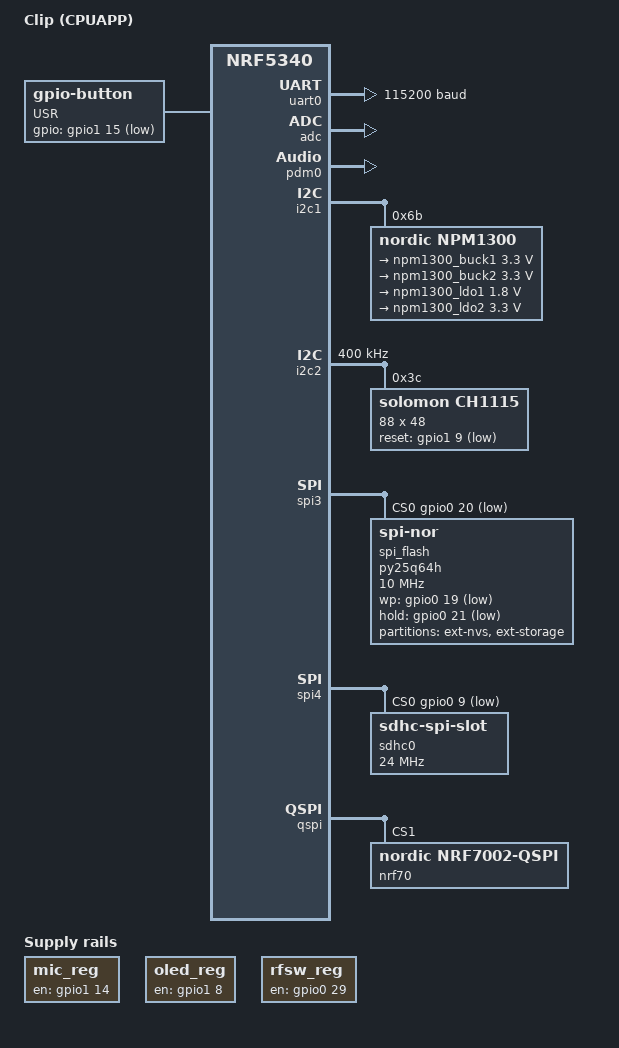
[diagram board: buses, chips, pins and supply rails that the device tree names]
/dts-v1/;
#include <nordic/nrf5340_cpuapp_qkaa.dtsi>
#include "clip-pinctrl.dtsi"
#include <zephyr/dt-bindings/sensor/lsm6dso.h>
#include <dt-bindings/regulator/npm13xx.h>

&uicr {
	nfct-pins-as-gpios;
};

/ {
	model = "Clip (CPUAPP)";
	compatible = "seeed,clip-cpuapp";

	usr_btn: button {
		compatible = "gpio-button";
		gpios = <&gpio1 15 (GPIO_PULL_UP | GPIO_ACTIVE_LOW)>;
		label = "USR";
		debounce-ms = <30>;
		long-press-ms = <1000 3000>;
		double-click-ms = <200>;
		status = "okay";
	};

	/* Microphone power regulator - from npm1300 LDO1 (1.8V) */
	mic_reg: regulator-mic {
		compatible = "regulator-fixed";
		regulator-name = "mic_vdd";
		enable-gpios = <&gpio1 14 GPIO_ACTIVE_HIGH>;
		regulator-boot-on;
		status = "okay";
	};

	oled_reg: regulator-oled {
		compatible = "regulator-fixed";
		regulator-name = "oled_vdd";
		enable-gpios = <&gpio1 8 GPIO_ACTIVE_HIGH>;
		status = "okay";
	};

	/* WiFi RF switch regulator */
	rfsw_reg: regulator-rfsw {
		compatible = "regulator-fixed";
		regulator-name = "rfsw_vdd";
		enable-gpios = <&gpio0 29 GPIO_ACTIVE_HIGH>;
		status = "okay";
	};


	chosen {
		zephyr,sram = &sram0_image;
		zephyr,flash = &flash0;
		zephyr,code-partition = &slot0_partition;
		zephyr,sram-secure-partition = &sram0_s;
		zephyr,sram-non-secure-partition = &sram0_ns;
		zephyr,console = &uart0;
		zephyr,shell-uart = &uart0;
		zephyr,bt-hci = &bt_hci_ipc0;
		nordic,802154-spinel-ipc = &ipc0;
		zephyr,ieee802154 = &ieee802154;
		zephyr,wifi = &wlan0;
		nordic,pm-ext-flash = &spi_flash;
		zephyr,display = &ch1115;
	};
	aliases {
		dmic0 = &pdm0;
		sw0 = &usr_btn;
	};
};

&gpiote {
	status = "okay";
};

&gpio0 {
	status = "okay";
};

&gpio1 {
	status = "okay";
};

&gpiote {
	status = "okay";
};

&uart0 {
	status = "okay";
	current-speed = <115200>;
	pinctrl-0 = <&uart0_default>;
	pinctrl-1 = <&uart0_sleep>;
	pinctrl-names = "default", "sleep";
};

&adc {
	status = "okay";
};

&clock {
	hfclkaudio-frequency = <12288000>;
};

&pdm0 {
	status = "okay";
	pinctrl-0 = <&pdm0_default>;
	pinctrl-names = "default";
	clock-source = "PCLK32M_HFXO";
	queue-size = <16>;
};

&i2c1 {
	status = "okay";
	pinctrl-0 = <&i2c1_default>;
	pinctrl-1 = <&i2c1_sleep>;
	pinctrl-names = "default", "sleep";

	npm1300: pmic@6b {
		compatible = "nordic,npm1300";
		reg = <0x6b>;
		status = "okay";

		npm1300_gpio: gpio-controller {
			compatible = "nordic,npm1300-gpio";
			gpio-controller;
			#gpio-cells = <2>;
			ngpios = <5>;
			status = "okay";
		};

		npm1300_regulators: regulators {
			compatible = "nordic,npm1300-regulator";

			/* BUCK1: MOTOR_3V3 - Vibration motor power */
			npm1300_buck1: BUCK1 {
				regulator-min-microvolt = <3300000>;
				regulator-max-microvolt = <3300000>;
				regulator-init-microvolt = <3300000>;
				enable-gpio-config = <NPM13XX_GPIO_CHAN_2 GPIO_ACTIVE_HIGH>;
				/* Motor controlled by P1.06 via PMIC GPIO2 */
			};

			/* BUCK2: VDD_3V3 - Main system power */
			npm1300_buck2: BUCK2 {
				regulator-min-microvolt = <3300000>;
				regulator-max-microvolt = <3300000>;
				regulator-init-microvolt = <3300000>;
				regulator-always-on;
				regulator-boot-on;
			};

			/* LDO1: VDDMIC_1V8 - Microphone power */
			npm1300_ldo1: LDO1 {
				regulator-min-microvolt = <1800000>;
				regulator-max-microvolt = <1800000>;
				regulator-init-microvolt = <1800000>;
				regulator-initial-mode = <2>;
				startup-delay-us = <1000>;
				regulator-boot-on;
			};

			/* LDO2: VDD_SD - SD card power */
			npm1300_ldo2: LDO2 {
				regulator-min-microvolt = <3300000>;
				regulator-max-microvolt = <3300000>;
				regulator-init-microvolt = <3300000>;
				regulator-initial-mode = <2>;
				startup-delay-us = <1000>;
				regulator-boot-on;
			};
		};
		npm1300_charger: charger {
			compatible = "nordic,npm1300-charger";
			term-microvolt = <4150000>;
			term-warm-microvolt = <4000000>;
			current-microamp = <150000>;
			dischg-limit-microamp = <1000000>;
			vbus-limit-microamp = <500000>;
			thermistor-ohms = <10000>;
			thermistor-beta = <3380>;
			charging-enable;
		};
	};
};

&i2c2 {
	status = "okay";
	pinctrl-0 = <&i2c2_default>;
	pinctrl-1 = <&i2c2_sleep>;
	pinctrl-names = "default", "sleep";
	clock-frequency = <400000>;
	zephyr,concat-buf-size = <96>;
	zephyr,flash-buf-max-size = <96>;

	ch1115: oled@3c {
		compatible = "solomon,ch1115";
		reg = <0x3c>;
		reset-gpios = <&gpio1 9 GPIO_ACTIVE_LOW>;
		width = <88>;
		height = <48>;
		segment-offset = <0>;
		page-offset = <0>;
		display-offset = <0>;
		multiplex-ratio = <47>;
		prechargep = <0x22>;
		segment-remap = <0>;
		com-invdir = <0>;
		status = "okay";
	};
};


&spi3 {
	compatible = "nordic,nrf-spim";
	status = "okay";
	pinctrl-0 = <&spi3_default>;
	pinctrl-1 = <&spi3_sleep>;
	pinctrl-names = "default", "sleep";
	cs-gpios = <&gpio0 20 GPIO_ACTIVE_LOW>;

	spi_flash: py25q64h@0 {
		compatible = "jedec,spi-nor";
		status = "okay";
		reg = <0>;
		spi-max-frequency = <10000000>;
		quad-enable-requirements = "S2B1v1";
		wp-gpios = <&gpio0 19 GPIO_ACTIVE_LOW>;
		hold-gpios = <&gpio0 21 GPIO_ACTIVE_LOW>;
		jedec-id = [ 85 20 17  ];
		sfdp-bfp = [ e5 20 f1 ff ff ff ff 00 44 eb 08 6b 08 3b 80 bb ee ff ff ff ff ff 00 ff ff ff 00 ff 0c 20 0f 52 10 d8 08 81  ];
		size = <DT_SIZE_M(64)>;

		partitions {
			compatible = "fixed-partitions";
			#address-cells = <1>;
			#size-cells = <1>;

			/* NVS storage for key-value data on external flash */
			ext_nvs_partition: partition@0 {
				label = "ext-nvs";
				reg = <0x00000000 DT_SIZE_K(64)>;
			};

			/* General storage for user data on external flash */
			ext_storage_partition: partition@10000 {
				label = "ext-storage";
				reg = <0x00010000 DT_SIZE_M(15)>;
			};
		};
	};
};

&spi4 {
	compatible = "nordic,nrf-spim";
	status = "okay";
	pinctrl-0 = <&spi4_default>;
	pinctrl-1 = <&spi4_sleep>;
	pinctrl-names = "default", "sleep";
	cs-gpios = <&gpio0 9 GPIO_ACTIVE_LOW>;

	sdhc0: sdhc@0 {
		compatible = "zephyr,sdhc-spi-slot";
		reg = <0>;
		status = "okay";
		mmc {
			compatible = "zephyr,sdmmc-disk";
			status = "okay";
			disk-name = "SD";
		};
		spi-max-frequency = <24000000>;
	};
};


&qspi {
	pinctrl-0 = <&qspi_default>;
	pinctrl-1 = <&qspi_sleep>;
	pinctrl-names = "default", "sleep";
	status = "okay";
	nrf70: nrf7002@1 {
		compatible = "nordic,nrf7002-qspi";
		status = "okay";
		reg = <1>;
		qspi-frequency = <24000000>;
		qspi-quad-mode;
		#include "nrf70_common.dtsi"
		#include "nrf70_common_5g.dtsi"
	};
};

#include "clip-cpuapp_partitioning.dtsi"
#include "clip-shared_sram.dtsi"
